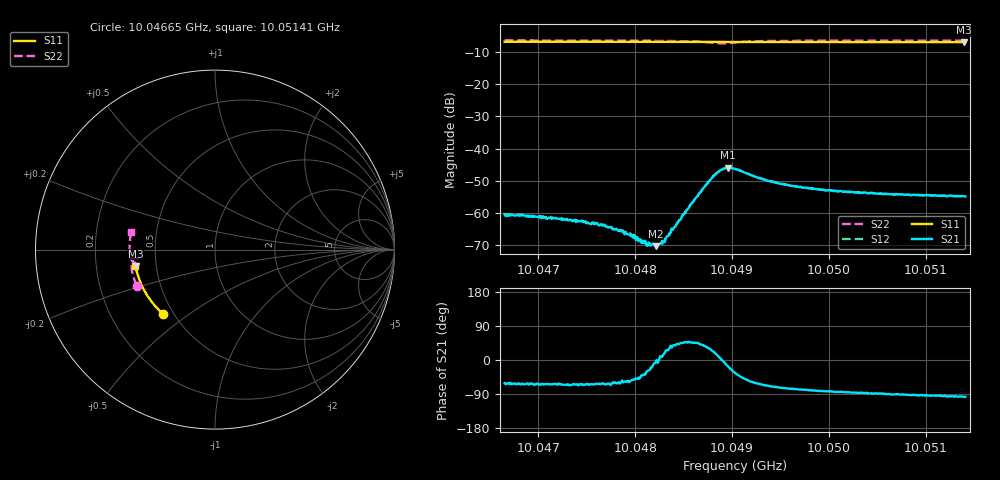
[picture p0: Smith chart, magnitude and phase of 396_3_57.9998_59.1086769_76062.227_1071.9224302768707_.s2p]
#  HZ  S  RI  R  50.00
! Rohde & Schwarz Vector Network Analyzer
! Rohde-Schwarz,ZNB20-2Port,1311601062101988,3.16
! Created: UTC 3/21/2024, 1:08:03 AM
! freq[Hz]  re:S11  im:S11  re:S21  im:S21  re:S12  im:S12  re:S22  im:S22
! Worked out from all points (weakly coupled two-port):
!   401 points, 10.04665 GHz to 10.05141 GHz, reference 50 ohm
!   highest |S21| = -45.98 dB at 10.04896 GHz (marker M1); lowest = -70.3 dB at 10.04821 GHz (marker M2)
!   lowest |S11| = -6.9 dB at 10.0514 GHz (marker M3), VSWR 2.65, Z = 19 - j4.38 ohm
!   |S11| at or under -10 dB: nowhere
!   |S22| runs from -7.3 to -6.4 dB; largest |S21 - S12| = 0.00036
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1.0046651e10  -0.2904 -0.357  0.000457 -0.000827  0.000492 -0.000801  -0.4365 -0.2005
1.0046818e10  -0.2988 -0.3498  0.000392 -0.000825  0.000472 -0.000816  -0.441 -0.1903
1.0047448e10  -0.3281 -0.3204  0.000338 -0.000677  0.000353 -0.000666  -0.455 -0.1497
1.0047603e10  -0.335 -0.3128  0.000311 -0.000602  0.000319 -0.000626  -0.458 -0.1393
1.0047853e10  -0.3456 -0.3  0.000279 -0.000464  0.000288 -0.000427  -0.4619 -0.1219
1.0048008e10  -0.352 -0.2922  0.000246 -0.000291  0.000292 -0.00029  -0.4638 -0.1106
1.0048115e10  -0.3563 -0.2866  0.000269 -0.000167  0.000286 -0.000154  -0.465 -0.1026
1.004821e10  -0.3601 -0.2816  0.000303 -3.83e-05  0.000321 -5.66e-05  -0.4657 -0.0951
1.0048246e10  -0.3615 -0.2797  0.000323 -1.73e-06  0.000337 3.78e-05  -0.4659 -0.0923
1.0048282e10  -0.3629 -0.2778  0.000326 5.8e-05  0.00036 0.000128  -0.4659 -0.0895
1.0048329e10  -0.3646 -0.2753  0.00039 0.000194  0.000377 0.000217  -0.466 -0.0855
1.0048591e10  -0.3742 -0.2608  0.00102 0.00105  0.000931 0.00108  -0.4613 -0.0611
1.0048793e10  -0.3812 -0.2496  0.00319 0.00146  0.00307 0.00169  -0.4413 -0.0469
1.0048877e10  -0.384 -0.2449  0.00453 0.000441  0.00452 0.000711  -0.4302 -0.0535
1.004896e10  -0.3867 -0.2405  0.0048 -0.00147  0.0049 -0.00119  -0.4308 -0.067
1.0049031e10  -0.389 -0.2366  0.004 -0.00269  0.00417 -0.00245  -0.4405 -0.0728
1.0049389e10  -0.4004 -0.2161  0.00114 -0.00289  0.00128 -0.00285  -0.4699 -0.0476
1.0049829e10  -0.4128 -0.1898  0.000369 -0.00233  0.000532 -0.00235  -0.4759 -0.0124
1.0050162e10  -0.4209 -0.1695  0.000187 -0.00212  0.000294 -0.00213  -0.4764 0.0118
1.0050626e10  -0.4307 -0.1407  4.65e-06 -0.00195  0.000134 -0.00199  -0.4745 0.0437
1.00514e10  -0.4426 -0.0915  -0.000245 -0.0018  -9.34e-05 -0.00179  -0.4666 0.0951
1.0051412e10  -0.4429 -0.0909  -0.000227 -0.00179  -0.000126 -0.00181  -0.4664 0.0958
